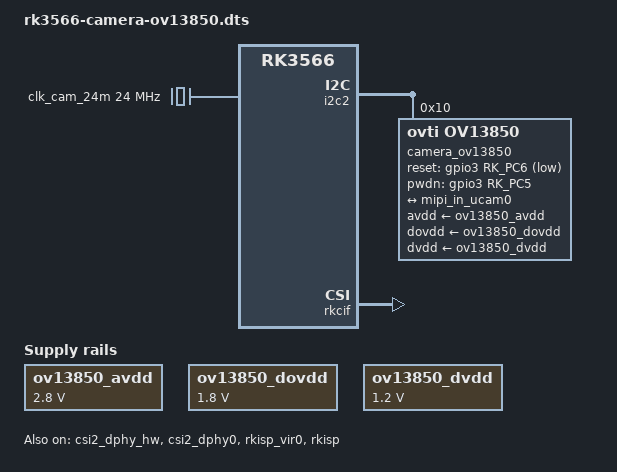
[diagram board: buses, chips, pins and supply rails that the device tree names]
/*
 * Device tree overlay for OV13850 (13MP Camera) on RK3566
 *
 * OmniVision OV13850 - 13MP MIPI CSI-2 sensor
 * High resolution sensor suitable for photography applications
 *
 * Compatible with Radxa Zero 3W and similar RK3566-based boards
 * Uses I2C2 and CSI2 DPHY0 in full mode (2 lanes)
 *
 * Copyright (c) 2024 MYSh LLC
 */
/dts-v1/;
/plugin/;

#include "dt-bindings.h"

/ {
	compatible = "rockchip,rk3566";

	metadata {
		title = "OV13850 Camera (13MP)";
		category = "camera";
		exclusive = "csi2_dphy0";
		description = "Enable OmniVision OV13850 13MP camera sensor on CSI2 DPHY0";
	};
};

&{/} {
	clk_cam_24m: external-camera-clock-24m {
		status = "okay";
		compatible = "fixed-clock";
		clock-frequency = <24000000>;
		clock-output-names = "clk_cam_24m";
		#clock-cells = <0>;
	};

	ov13850_avdd: ov13850-avdd {
		status = "okay";
		compatible = "regulator-fixed";
		regulator-name = "ov13850_avdd";
		regulator-min-microvolt = <2800000>;
		regulator-max-microvolt = <2800000>;
		regulator-always-on;
		regulator-boot-on;
	};

	ov13850_dovdd: ov13850-dovdd {
		status = "okay";
		compatible = "regulator-fixed";
		regulator-name = "ov13850_dovdd";
		regulator-min-microvolt = <1800000>;
		regulator-max-microvolt = <1800000>;
		regulator-always-on;
		regulator-boot-on;
	};

	ov13850_dvdd: ov13850-dvdd {
		status = "okay";
		compatible = "regulator-fixed";
		regulator-name = "ov13850_dvdd";
		regulator-min-microvolt = <1200000>;
		regulator-max-microvolt = <1200000>;
		regulator-always-on;
		regulator-boot-on;
	};
};

&i2c2 {
	status = "okay";
	pinctrl-names = "default";
	pinctrl-0 = <&i2c2m1_xfer>;
	#address-cells = <1>;
	#size-cells = <0>;

	camera_ov13850: camera-ov13850@10 {
		status = "okay";
		compatible = "ovti,ov13850";
		reg = <0x10>;
		clocks = <&clk_cam_24m>;
		clock-names = "xvclk";

		avdd-supply = <&ov13850_avdd>;
		dovdd-supply = <&ov13850_dovdd>;
		dvdd-supply = <&ov13850_dvdd>;

		reset-gpios = <&gpio3 RK_PC6 GPIO_ACTIVE_LOW>;
		pwdn-gpios = <&gpio3 RK_PC5 GPIO_ACTIVE_HIGH>;

		rockchip,camera-module-index = <0>;
		rockchip,camera-module-facing = "back";
		rockchip,camera-module-name = "ov13850";
		rockchip,camera-module-lens-name = "default";

		port {
			ov13850_out: endpoint {
				remote-endpoint = <&mipi_in_ucam0>;
				data-lanes = <1 2>;
			};
		};
	};
};

&csi2_dphy_hw {
	status = "okay";
};

&csi2_dphy0 {
	status = "okay";

	ports {
		#address-cells = <1>;
		#size-cells = <0>;

		port@0 {
			reg = <0>;
			#address-cells = <1>;
			#size-cells = <0>;

			mipi_in_ucam0: endpoint@1 {
				reg = <1>;
				remote-endpoint = <&ov13850_out>;
				data-lanes = <1 2>;
			};
		};

		port@1 {
			reg = <1>;
			#address-cells = <1>;
			#size-cells = <0>;

			dphy0_out: endpoint@1 {
				reg = <1>;
				remote-endpoint = <&isp0_in>;
			};
		};
	};
};

&rkisp_vir0 {
	status = "okay";

	port {
		#address-cells = <1>;
		#size-cells = <0>;

		isp0_in: endpoint@0 {
			reg = <0>;
			remote-endpoint = <&dphy0_out>;
		};
	};
};

&rkisp {
	status = "okay";
};

&rkisp_mmu {
	status = "okay";
};

&rkcif_mmu {
	status = "okay";
};

&rkcif {
	status = "okay";
};
